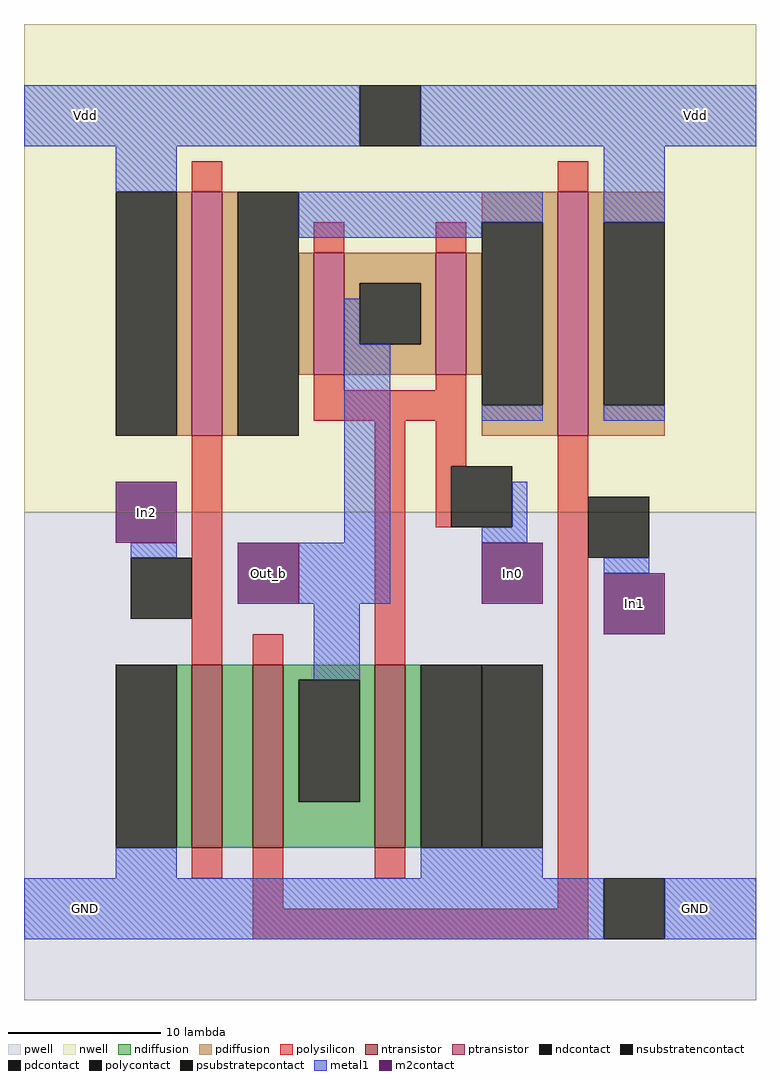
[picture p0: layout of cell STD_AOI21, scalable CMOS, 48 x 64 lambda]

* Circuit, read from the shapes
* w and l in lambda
.subckt STD_AOI21 GND In0 In1 In2 Out_b Vdd
M1 n1 In2 GND GND nfet w=12 l=2
M2 Out_b In1 n1 GND nfet w=12 l=2
M3 GND In0 Out_b GND nfet w=12 l=2
M4 n2 In2 Vdd Vdd pfet w=16 l=2
M5 Out_b In0 n2 Vdd pfet w=8 l=2 m=2
M6 Vdd In1 n2 Vdd pfet w=16 l=2
.ends

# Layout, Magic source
magic
tech scmos
<< pwell >>
rect 0 0 48 32
<< nwell >>
rect 0 32 48 64
<< polysilicon >>
rect 11 53 13 55
rect 35 53 37 55
rect 19 49 21 51
rect 27 49 29 51
rect 19 40 21 41
rect 27 40 29 41
rect 19 38 29 40
rect 11 22 13 37
rect 15 22 17 24
rect 23 22 25 38
rect 27 35 29 38
rect 27 31 28 35
rect 11 8 13 10
rect 15 6 17 10
rect 23 8 25 10
rect 35 6 37 37
rect 15 4 37 6
<< ndiffusion >>
rect 10 10 11 22
rect 13 10 15 22
rect 17 21 23 22
rect 17 13 18 21
rect 22 13 23 21
rect 17 10 23 13
rect 25 10 26 22
<< pdiffusion >>
rect 10 37 11 53
rect 13 37 14 53
rect 30 51 35 53
rect 18 41 19 49
rect 21 47 27 49
rect 21 43 22 47
rect 26 43 27 47
rect 21 41 27 43
rect 29 41 30 49
rect 34 39 35 51
rect 30 37 35 39
rect 37 51 42 53
rect 37 39 38 51
rect 37 37 42 39
<< metal1 >>
rect 0 56 22 60
rect 26 56 48 60
rect 6 53 10 56
rect 18 51 34 53
rect 18 50 30 51
rect 21 43 22 46
rect 21 30 24 43
rect 30 38 34 39
rect 38 51 42 56
rect 38 38 42 39
rect 32 31 33 34
rect 7 29 10 30
rect 18 26 24 30
rect 30 30 33 31
rect 38 28 41 29
rect 19 21 22 26
rect 6 8 10 10
rect 26 8 34 10
rect 0 4 38 8
rect 42 4 48 8
<< ntransistor >>
rect 11 10 13 22
rect 15 10 17 22
rect 23 10 25 22
<< ptransistor >>
rect 11 37 13 53
rect 19 41 21 49
rect 27 41 29 49
rect 35 37 37 53
<< polycontact >>
rect 7 25 11 29
rect 28 31 32 35
rect 37 29 41 33
<< ndcontact >>
rect 6 10 10 22
rect 18 13 22 21
rect 26 10 30 22
<< pdcontact >>
rect 6 37 10 53
rect 14 37 18 53
rect 22 43 26 47
rect 30 39 34 51
rect 38 39 42 51
<< m2contact >>
rect 6 30 10 34
rect 14 26 18 30
rect 30 26 34 30
rect 38 24 42 28
<< psubstratepcontact >>
rect 30 10 34 22
rect 38 4 42 8
<< nsubstratencontact >>
rect 22 56 26 60
<< labels >>
rlabel m2contact 40 26 40 26 6 In1
rlabel m2contact 8 32 8 32 6 In2
rlabel metal1 4 6 4 6 6 GND
rlabel metal1 4 58 4 58 6 Vdd
rlabel metal1 44 58 44 58 6 Vdd
rlabel metal1 44 6 44 6 6 GND
rlabel m2contact 16 28 16 28 6 Out_b
rlabel m2contact 32 28 32 28 6 In0
<< end >>
